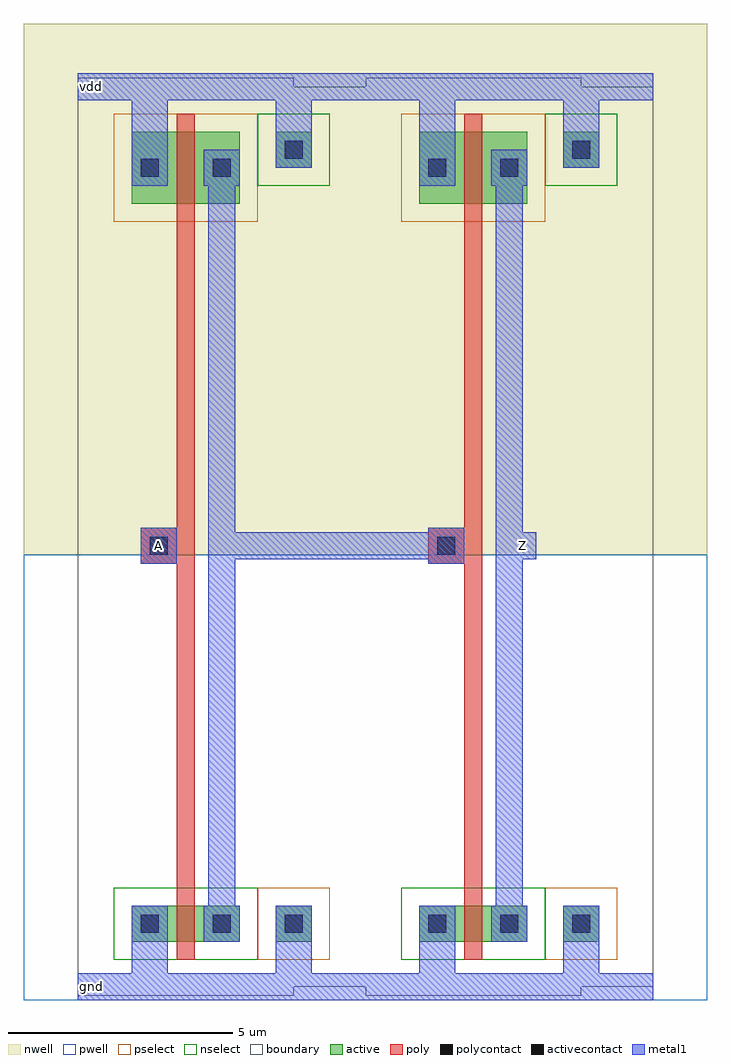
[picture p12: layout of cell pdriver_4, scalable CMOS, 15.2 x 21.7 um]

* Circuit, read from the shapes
.subckt pdriver_4 A Z gnd vdd
M1 pinv_4_1/A A gnd gnd nfet w=0.8u l=0.4u
M2 Z pinv_4_1/A gnd gnd nfet w=0.8u l=0.4u
M3 pinv_4_1/A A vdd vdd pfet w=1.6u l=0.4u
M4 Z pinv_4_1/A vdd vdd pfet w=1.6u l=0.4u
.ends

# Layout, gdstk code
import gdstk
lib = gdstk.Library(unit=1e-6, precision=1e-09)
def R(c, l, rs):  # rectangles x0, y0, x1, y1
    for r in rs: c.add(gdstk.rectangle(r[:2], r[2:], *l))
pwell = (41, 0)
nwell = (42, 0)
active = (43, 0)
pselect = (44, 0)
nselect = (45, 0)
poly = (46, 0)
polycontact = (47, 0)
activecontact = (48, 0)
metal1 = (49, 0)
boundary = (63, 0)

contact_11 = lib.new_cell('contact_11')
R(contact_11, nwell, [(-1.2,-1.2,2,2)])
R(contact_11, active, [(0,0,0.8,0.8)])
R(contact_11, pselect, [(-0.4,-0.4,1.2,1.2)])
R(contact_11, activecontact, [(0.2,0.2,0.6,0.6)])
R(contact_11, metal1, [(0,0,0.8,0.8)])

pmos_m1_w1_600_a_p = lib.new_cell('pmos_m1_w1_600_a_p')
R(pmos_m1_w1_600_a_p, nwell, [(-1.2,-1.2,3.6,2.8)])
R(pmos_m1_w1_600_a_p, active, [(0,0,2.4,1.6)])
R(pmos_m1_w1_600_a_p, pselect, [(-0.4,-0.4,2.8,2)])
R(pmos_m1_w1_600_a_p, poly, [(1,-0.4,1.4,2), (1,-0.4,1.4,2)])
R(pmos_m1_w1_600_a_p, metal1, [(0,0.4,0.8,1.2), (1.6,0.4,2.4,1.2)])
R(pmos_m1_w1_600_a_p, boundary, [(-1.2,-1.2,3.6,2.8)])
pmos_m1_w1_600_a_p.add(gdstk.Reference(contact_11, (0,0.4)))
pmos_m1_w1_600_a_p.add(gdstk.Reference(contact_11, (1.6,0.4)))
pmos_m1_w1_600_a_p.add(gdstk.Label('G', (1.2,0.8), layer=46, texttype=0))
pmos_m1_w1_600_a_p.add(gdstk.Label('S', (0.4,0.8), layer=49, texttype=0))
pmos_m1_w1_600_a_p.add(gdstk.Label('D', (2,0.8), layer=49, texttype=0))

contact_16 = lib.new_cell('contact_16')
R(contact_16, pwell, [(-1.2,-1.2,2,2)])
R(contact_16, active, [(0,0,0.8,0.8)])
R(contact_16, nselect, [(-0.4,-0.4,1.2,1.2)])
R(contact_16, activecontact, [(0.2,0.2,0.6,0.6)])
R(contact_16, metal1, [(0,0,0.8,0.8)])

nmos_m1_w0_800_a_p = lib.new_cell('nmos_m1_w0_800_a_p')
R(nmos_m1_w0_800_a_p, pwell, [(-1.2,-1.2,3.6,2)])
R(nmos_m1_w0_800_a_p, active, [(0,0,2.4,0.8)])
R(nmos_m1_w0_800_a_p, nselect, [(-0.4,-0.4,2.8,1.2)])
R(nmos_m1_w0_800_a_p, poly, [(1,-0.4,1.4,1.2), (1,-0.4,1.4,1.2)])
R(nmos_m1_w0_800_a_p, metal1, [(0,0,0.8,0.8), (1.6,0,2.4,0.8)])
R(nmos_m1_w0_800_a_p, boundary, [(-1.2,-1.2,3.6,2)])
nmos_m1_w0_800_a_p.add(gdstk.Reference(contact_16, (0,0)))
nmos_m1_w0_800_a_p.add(gdstk.Reference(contact_16, (1.6,0)))
nmos_m1_w0_800_a_p.add(gdstk.Label('G', (1.2,0.4), layer=46, texttype=0))
nmos_m1_w0_800_a_p.add(gdstk.Label('S', (0.4,0.4), layer=49, texttype=0))
nmos_m1_w0_800_a_p.add(gdstk.Label('D', (2,0.4), layer=49, texttype=0))

contact_13 = lib.new_cell('contact_13')
R(contact_13, nwell, [(-1.2,-1.2,2,2)])
R(contact_13, active, [(0,0,0.8,0.8)])
R(contact_13, nselect, [(-0.4,-0.4,1.2,1.2)])
R(contact_13, activecontact, [(0.2,0.2,0.6,0.6)])
R(contact_13, metal1, [(0,0,0.8,0.8)])

contact_17 = lib.new_cell('contact_17')
R(contact_17, pwell, [(-1.2,-1.2,2,2)])
R(contact_17, active, [(0,0,0.8,0.8)])
R(contact_17, pselect, [(-0.4,-0.4,1.2,1.2)])
R(contact_17, activecontact, [(0.2,0.2,0.6,0.6)])
R(contact_17, metal1, [(0,0,0.8,0.8)])

contact_12 = lib.new_cell('contact_12')
R(contact_12, poly, [(0,0,0.8,0.8)])
R(contact_12, polycontact, [(0.2,0.2,0.6,0.6)])
R(contact_12, metal1, [(0,0,0.8,0.8)])

pinv_4 = lib.new_cell('pinv_4')
R(pinv_4, pwell, [(-1.2,-0.3,7.6,9.6)])
R(pinv_4, nwell, [(-1.2,9.6,7.6,21.4)])
R(pinv_4, poly, [(2.2,2.2,2.6,17), (1.8,9.4,2.2,10.2)])
R(pinv_4, metal1, [(0,-0.3,6.4,0.3), (1.2,-0.3,2,1), (4.4,0,5.2,1.4), (2.9,1,3.5,18.6), (1.4,9.4,2.2,10.2), (3.2,9.5,3.8,10.1), (1.2,17.8,2,20.3), (4.4,18.6,5.2,20), (0,19.7,6.4,20.3)])
R(pinv_4, boundary, [(0,0,6.4,20)])
pinv_4.add(gdstk.Reference(pmos_m1_w1_600_a_p, (1.2,17.4)))
pinv_4.add(gdstk.Reference(nmos_m1_w0_800_a_p, (1.2,1)))
pinv_4.add(gdstk.Reference(contact_13, (4.4,18.2)))
pinv_4.add(gdstk.Reference(contact_17, (4.4,1)))
pinv_4.add(gdstk.Reference(contact_12, (1.4,9.4)))
pinv_4.add(gdstk.Label('gnd', (3.2,0), layer=49, texttype=0))
pinv_4.add(gdstk.Label('vdd', (3.2,20), layer=49, texttype=0))
pinv_4.add(gdstk.Label('A', (1.8,9.8), layer=49, texttype=0))
pinv_4.add(gdstk.Label('Z', (3.5,9.8), layer=49, texttype=0))

pdriver_4 = lib.new_cell('pdriver_4')
R(pdriver_4, metal1, [(0,-0.3,0.6,0.3), (1.4,9.4,2.2,10.2), (3.5,9.5,8.2,10.1), (9.6,9.5,10.2,10.1), (0,19.7,0.6,20.3)])
R(pdriver_4, boundary, [(0,0,12.8,20)])
pdriver_4.add(gdstk.Reference(pinv_4, (0,0)))
pdriver_4.add(gdstk.Reference(pinv_4, (6.4,0)))
pdriver_4.add(gdstk.Label('vdd', (0.3,20), layer=49, texttype=0))
pdriver_4.add(gdstk.Label('gnd', (0.3,0), layer=49, texttype=0))
pdriver_4.add(gdstk.Label('Z', (9.9,9.8), layer=49, texttype=0))
pdriver_4.add(gdstk.Label('A', (1.8,9.8), layer=49, texttype=0))

lib.write_gds('pdriver_4.gds')
